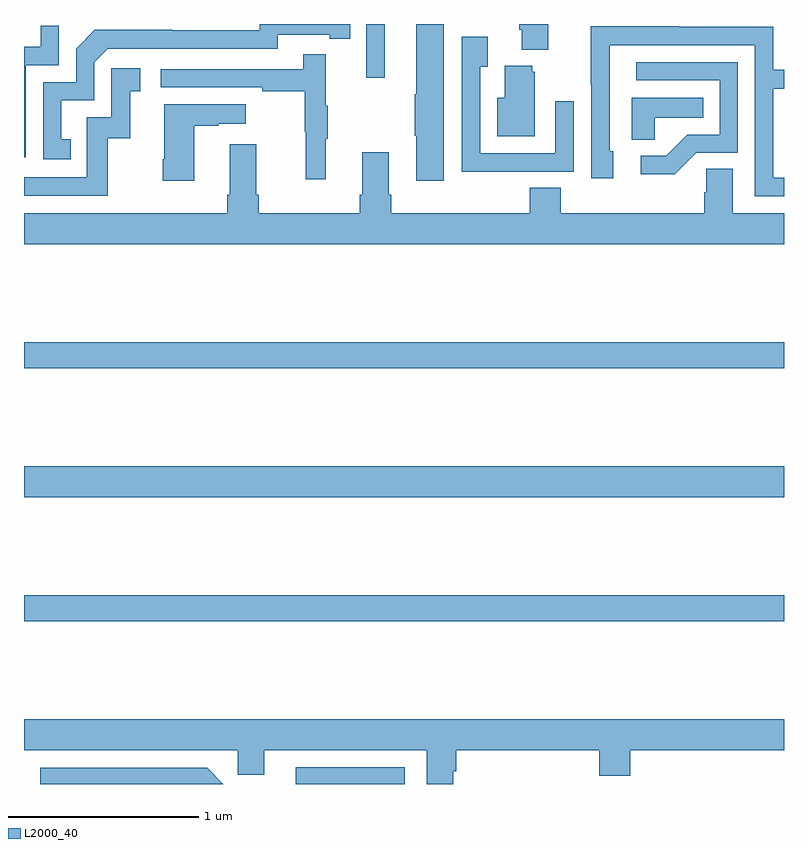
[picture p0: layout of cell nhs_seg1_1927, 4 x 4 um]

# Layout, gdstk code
import gdstk
lib = gdstk.Library(unit=1e-6, precision=1e-09)
def R(c, l, rs):  # rectangles x0, y0, x1, y1
    for r in rs: c.add(gdstk.rectangle(r[:2], r[2:], *l))
def P(c, l, *ps):  # polygons
    for p in ps: c.add(gdstk.Polygon(p, *l))
L2000_40 = (2000, 40)

nhs_seg1_1927 = lib.new_cell('nhs_seg1_1927')
R(nhs_seg1_1927, L2000_40, [(216.431,574.199,217.005,574.287), (215,575.056,219,575.192), (215,575.708,219,575.872), (215,576.388,219,576.524), (216.801,577.917,216.898,578.199)])
P(nhs_seg1_1927, L2000_40, [(217.21,578.199),(217.064,578.199),(217.064,577.829),(217.057,577.829),(217.057,577.612),(217.064,577.612),(217.064,577.374),(217.21,577.374)],
  [(215.246,577.593),(215.197,577.593),(215.197,577.797),(215.37,577.797),(215.37,577.998),(215.442,578.07),(216.336,578.07),(216.336,578.142),(216.608,578.142),(216.608,578.122),(216.716,578.122),(216.716,578.199),(216.24,578.199),(216.24,578.166),(215.78,578.166),(215.78,578.168),(215.372,578.168),(215.274,578.07),(215.274,577.893),(215.1,577.893),(215.1,577.488),(215.246,577.488)],
  [(217.759,578.199),(217.607,578.199),(217.607,578.17),(217.619,578.17),(217.619,578.063),(217.759,578.063)],
  [(215.01,577.983),(215.184,577.983),(215.184,578.191),(215.087,578.191),(215.087,578.079),(215,578.079),(215,577.497),(215.01,577.497)],
  [(219,577.389),(218.943,577.389),(218.943,577.858),(219,577.858),(219,577.959),(218.943,577.959),(218.943,578.184),(218.447,578.184),(218.447,578.186),(217.984,578.186),(217.984,577.879),(217.986,577.879),(217.986,577.386),(218.101,577.386),(218.101,577.53),(218.082,577.53),(218.082,578.088),(218.847,578.088),(218.847,577.293),(219,577.293)],
  [(217.577,577.422),(217.893,577.422),(217.893,577.792),(217.797,577.792),(217.797,577.518),(217.401,577.518),(217.401,577.975),(217.441,577.975),(217.441,578.131),(217.305,578.131),(217.305,577.421),(217.577,577.421)],
  [(216.587,577.595),(216.598,577.595),(216.598,577.769),(216.587,577.769),(216.587,578.041),(216.469,578.041),(216.469,577.962),(215.721,577.962),(215.721,577.866),(216.253,577.866),(216.253,577.846),(216.477,577.846),(216.477,577.632),(216.484,577.632),(216.484,577.383),(216.587,577.383)],
  [(218.538,577.521),(218.757,577.521),(218.757,577.998),(218.223,577.998),(218.223,577.902),(218.661,577.902),(218.661,577.617),(218.492,577.617),(218.381,577.506),(218.247,577.506),(218.247,577.409),(218.425,577.409)],
  [(217.687,577.947),(217.676,577.947),(217.676,577.978),(217.529,577.978),(217.529,577.81),(217.49,577.81),(217.49,577.607),(217.687,577.607)],
  [(215.44,577.599),(215.558,577.599),(215.558,577.845),(215.611,577.845),(215.611,577.966),(215.46,577.966),(215.46,577.707),(215.331,577.707),(215.331,577.392),(215,577.392),(215,577.296),(215.44,577.296)],
  [(218.319,577.706),(218.576,577.706),(218.576,577.81),(218.198,577.81),(218.198,577.591),(218.319,577.591)],
  [(215.896,577.663),(216.023,577.663),(216.023,577.673),(216.166,577.673),(216.166,577.777),(215.738,577.777),(215.738,577.486),(215.731,577.486),(215.731,577.374),(215.896,577.374)],
  [(219,577.204),(218.731,577.204),(218.731,577.436),(218.592,577.436),(218.592,577.313),(218.579,577.313),(218.579,577.204),(217.826,577.204),(217.826,577.337),(217.661,577.337),(217.661,577.204),(216.932,577.204),(216.932,577.3),(216.919,577.3),(216.919,577.525),(216.779,577.525),(216.779,577.3),(216.767,577.3),(216.767,577.204),(216.236,577.204),(216.236,577.3),(216.223,577.3),(216.223,577.567),(216.083,577.567),(216.083,577.3),(216.071,577.3),(216.071,577.204),(215,577.204),(215,577.04),(219,577.04)],
  [(217.26,574.267),(217.274,574.267),(217.274,574.376),(218.027,574.376),(218.027,574.243),(218.192,574.243),(218.192,574.376),(219,574.376),(219,574.54),(215,574.54),(215,574.376),(216.126,574.376),(216.126,574.249),(216.265,574.249),(216.265,574.376),(217.121,574.376),(217.121,574.199),(217.26,574.199)],
  [(215.964,574.284),(215.085,574.284),(215.085,574.199),(216.049,574.199)])

lib.write_gds('nhs_seg1_1927.gds')
